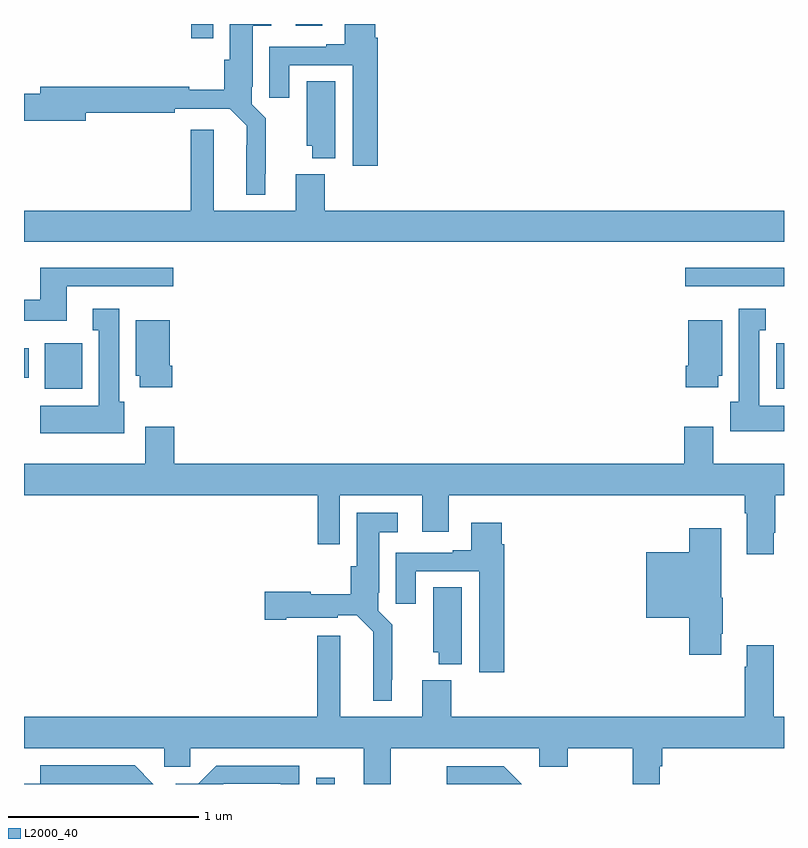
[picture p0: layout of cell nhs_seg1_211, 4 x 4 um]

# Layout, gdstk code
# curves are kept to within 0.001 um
import gdstk
lib = gdstk.Library(unit=1e-6, precision=1e-09)
def R(c, l, rs):  # rectangles x0, y0, x1, y1
    for r in rs: c.add(gdstk.rectangle(r[:2], r[2:], *l))
def P(c, l, *ps):  # polygons
    for p in ps: c.add(gdstk.Polygon(p, *l))
L2000_40 = (2000, 40)

nhs_seg1_211 = lib.new_cell('nhs_seg1_211')
R(nhs_seg1_211, L2000_40, [(122.539,562.199,122.635,562.231), (121.109,564.278,121.306,564.52), (124.958,564.278,125,564.52), (121,564.337,121.024,564.493), (124.479,564.819,125,564.916), (121.879,566.124,121.995,566.199), (122.429,566.19,122.569,566.199)])
P(nhs_seg1_211, L2000_40, [(122.269,565.411),(122.273,565.411),(122.273,565.702),(122.199,565.776),(122.199,565.87),(122.203,565.87),(122.203,566.189),(122.302,566.189),(122.302,566.199),(122.084,566.199),(122.084,566.01),(122.054,566.01),(122.054,565.853),(121.87,565.853),(121.87,565.868),(121.085,565.868),(121.085,565.832),(121,565.832),(121,565.69),(121.324,565.69),(121.324,565.732),(121.793,565.732),(121.793,565.752),(122.084,565.752),(122.172,565.664),(122.171,565.301),(122.269,565.301)],
  [(122.861,566.126),(122.848,566.126),(122.848,566.199),(122.687,566.199),(122.687,566.092),(122.591,566.092),(122.591,566.079),(122.291,566.079),(122.291,565.812),(122.395,565.812),(122.395,565.983),(122.729,565.983),(122.729,565.452),(122.861,565.452)],
  [(122.638,565.898),(122.489,565.898),(122.489,565.557),(122.516,565.557),(122.516,565.493),(122.638,565.493)],
  [(125,565.216),(122.582,565.216),(122.582,565.408),(122.429,565.408),(122.429,565.216),(121.999,565.216),(121.999,565.642),(121.877,565.642),(121.877,565.216),(121,565.216),(121,565.052),(125,565.052)],
  [(121.225,564.819),(121.786,564.819),(121.786,564.916),(121.085,564.916),(121.085,564.748),(121,564.748),(121,564.638),(121.225,564.638)],
  [(125,564.19),(124.87,564.19),(124.87,564.587),(124.903,564.587),(124.903,564.7),(124.763,564.7),(124.763,564.21),(124.718,564.21),(124.718,564.056),(125,564.056)],
  [(121.528,564.21),(121.501,564.21),(121.501,564.7),(121.361,564.7),(121.361,564.587),(121.394,564.587),(121.394,564.19),(121.085,564.19),(121.085,564.044),(121.528,564.044)],
  [(124.654,564.348),(124.675,564.348),(124.675,564.64),(124.496,564.64),(124.496,564.4),(124.484,564.4),(124.484,564.288),(124.654,564.288)],
  [(121.781,564.4),(121.768,564.4),(121.768,564.64),(121.589,564.64),(121.589,564.348),(121.61,564.348),(121.61,564.288),(121.781,564.288)],
  [(124.945,563.521),(124.953,563.521),(124.953,563.72),(125,563.72),(125,563.884),(124.627,563.884),(124.627,564.079),(124.475,564.079),(124.475,563.884),(121.79,563.884),(121.79,564.079),(121.637,564.079),(121.637,563.884),(121,563.884),(121,563.72),(122.545,563.72),(122.545,563.46),(122.661,563.46),(122.661,563.72),(123.095,563.72),(123.095,563.526),(123.235,563.526),(123.235,563.72),(124.793,563.72),(124.793,563.624),(124.805,563.624),(124.805,563.409),(124.945,563.409)],
  [(122.935,562.747),(122.939,562.747),(122.939,563.038),(122.865,563.112),(122.865,563.206),(122.869,563.206),(122.869,563.525),(122.968,563.525),(122.968,563.626),(122.75,563.626),(122.75,563.346),(122.72,563.346),(122.72,563.197),(122.508,563.197),(122.508,563.21),(122.268,563.21),(122.268,563.063),(122.38,563.063),(122.38,563.075),(122.652,563.075),(122.652,563.087),(122.751,563.087),(122.838,563),(122.837,562.637),(122.935,562.637)],
  [(123.527,563.462),(123.514,563.462),(123.514,563.575),(123.353,563.575),(123.353,563.428),(123.257,563.428),(123.257,563.415),(122.957,563.415),(122.957,563.148),(123.061,563.148),(123.061,563.319),(123.395,563.319),(123.395,562.788),(123.527,562.788)],
  [(124.669,562.99),(124.677,562.99),(124.677,563.179),(124.669,563.179),(124.669,563.545),(124.502,563.545),(124.502,563.419),(124.274,563.419),(124.274,563.075),(124.502,563.075),(124.502,562.878),(124.669,562.878)],
  [(123.304,563.234),(123.155,563.234),(123.155,562.893),(123.182,562.893),(123.182,562.829),(123.304,562.829)],
  [(122.929,562.388),(123.713,562.388),(123.713,562.289),(123.861,562.289),(123.861,562.388),(124.205,562.388),(124.205,562.199),(124.345,562.199),(124.345,562.292),(124.358,562.292),(124.358,562.388),(125,562.388),(125,562.552),(124.945,562.552),(124.945,562.93),(124.805,562.93),(124.805,562.817),(124.793,562.817),(124.793,562.552),(123.248,562.552),(123.248,562.744),(123.095,562.744),(123.095,562.552),(122.665,562.552),(122.665,562.978),(122.543,562.978),(122.543,562.552),(121,562.552),(121,562.388),(121.737,562.388),(121.737,562.29),(121.875,562.29),(121.875,562.388),(122.789,562.388),(122.789,562.199),(122.929,562.199)],
  [(121.583,562.297),(121.086,562.297),(121.086,562.2),(121,562.2),(121,562.199),(121.681,562.199)],
  [(122.049,562.2),(122.352,562.2),(122.352,562.199),(122.448,562.199),(122.448,562.296),(122.013,562.296),(121.917,562.2),(121.799,562.2),(121.799,562.199),(122.048,562.199)],
  [(123.525,562.293),(123.225,562.293),(123.225,562.199),(123.619,562.199)])

lib.write_gds('nhs_seg1_211.gds')
